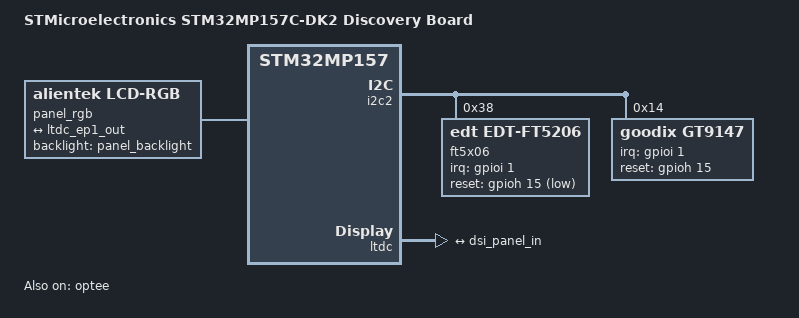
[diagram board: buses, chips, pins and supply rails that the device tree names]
// SPDX-License-Identifier: (GPL-2.0+ OR BSD-3-Clause)
/*
 * Copyright (C) STMicroelectronics 2019 - All Rights Reserved
 * Author: Alexandre Torgue <alexandre.torgue@st.com> for STMicroelectronics.
 */

/dts-v1/;

#include "stm32mp157.dtsi"
#include "stm32mp15xd.dtsi"
#include "stm32mp15-pinctrl.dtsi"
#include "stm32mp15xxaa-pinctrl.dtsi"
#include "stm32mp157d-atk.dtsi"
#include <dt-bindings/rtc/rtc-stm32.h>

/ {
	model = "STMicroelectronics STM32MP157C-DK2 Discovery Board";
	compatible = "st,stm32mp157d-atk", "st,stm32mp157";

	aliases {
		ethernet0 = &ethernet0;
		serial0 = &uart4;
		serial1 = &usart3;
		serial2 = &uart5;
		serial3 = &uart7;
	};

	chosen {
		stdout-path = "serial0:115200n8";
	};

	reserved-memory {

		gpu_reserved: gpu@f6000000 {
			reg = <0xf6000000 0x8000000>;
			no-map;
		};

        optee_memory: optee@fe000000 {
			reg = <0xfe000000 0x2000000>;
			no-map;
        };
	};

    panel_rgb: panel-rgb {
        compatible = "alientek,lcd-rgb";
        backlight = <&panel_backlight>;
        status = "okay";

		port {
			dsi_panel_in: endpoint {
				remote-endpoint = <&ltdc_ep1_out>;
			};
		};
	};
};
&sound {
    dais = <&sai2a_port &sai2b_port &spdifrx_port>;
};
&hdmi {
    status = "disabled";
};

&i2c2 {

    ft5x06: ft5x06@38 {
        compatible = "edt,edt-ft5206";
        reg = <0x38>;
        irq-gpios = <&gpioi 1 GPIO_ACTIVE_HIGH>;
        reset-gpios = <&gpioh 15 GPIO_ACTIVE_LOW>;
        status = "okay";
    };

    gt9147: gt9147@14 {
        compatible = "goodix,gt9147","goodix,gt1151";
        reg = <0x14>;
        interrupt-parent = <&gpioi>;
        interrupts = <1 IRQ_TYPE_EDGE_RISING>;
        irq-gpios = <&gpioi 1 GPIO_ACTIVE_HIGH>;
        reset-gpios = <&gpioh 15 GPIO_ACTIVE_HIGH>;
        status = "okay";
    };
};

&ltdc {
    port {
        #address-cells = <1>;
        #size-cells = <0>;

        ltdc_ep1_out: endpoint@1 {
            reg = <1>;
            remote-endpoint = <&dsi_panel_in>;
        };
    };
};

&optee_memory {
     status = "okay";
};
&optee {
    status = "okay";
};
